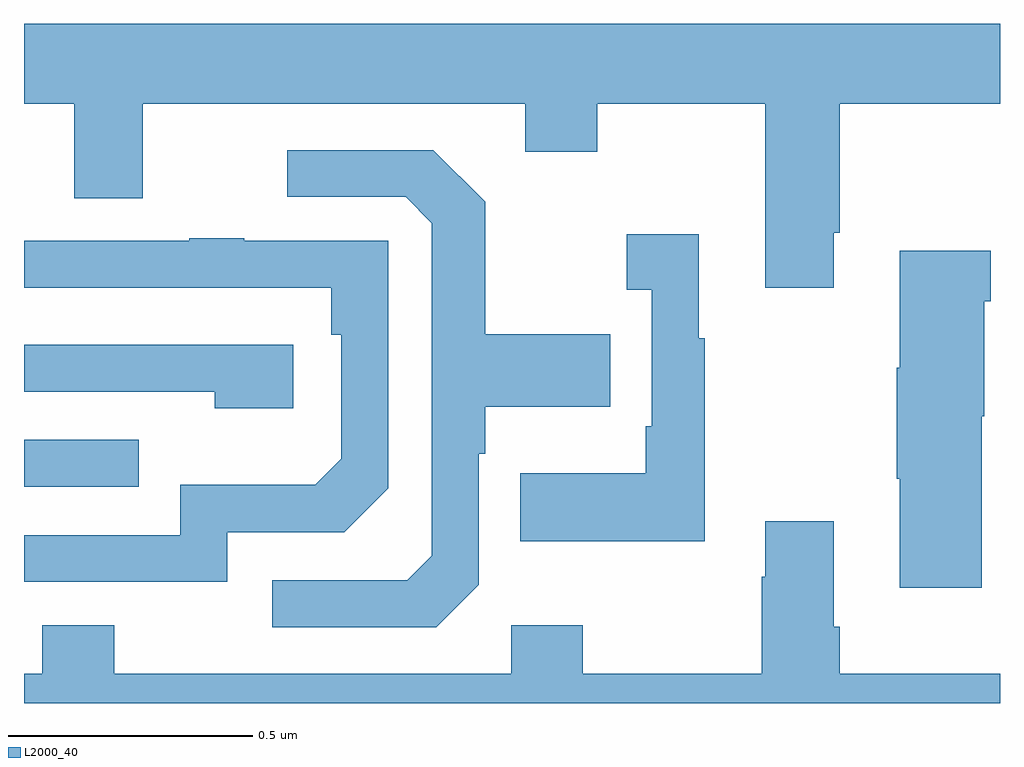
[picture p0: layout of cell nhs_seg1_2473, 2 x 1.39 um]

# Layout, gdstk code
import gdstk
lib = gdstk.Library(unit=1e-6, precision=1e-09)
def R(c, l, rs):  # rectangles x0, y0, x1, y1
    for r in rs: c.add(gdstk.rectangle(r[:2], r[2:], *l))
def P(c, l, *ps):  # polygons
    for p in ps: c.add(gdstk.Polygon(p, *l))
L2000_40 = (2000, 40)

nhs_seg1_2473 = lib.new_cell('nhs_seg1_2473')
R(nhs_seg1_2473, L2000_40, [(142,521.643,142.235,521.739)])
P(nhs_seg1_2473, L2000_40, [(143.659,522.163),(143.672,522.163),(143.672,522.428),(144,522.428),(144,522.592),(142,522.592),(142,522.428),(142.103,522.428),(142.103,522.234),(142.243,522.234),(142.243,522.428),(143.027,522.428),(143.027,522.329),(143.175,522.329),(143.175,522.428),(143.519,522.428),(143.519,522.051),(143.659,522.051)],
  [(142.932,521.442),(142.932,521.711),(142.945,521.711),(142.945,521.807),(143.201,521.807),(143.201,521.955),(142.945,521.955),(142.945,522.227),(142.839,522.333),(142.539,522.333),(142.539,522.237),(142.782,522.237),(142.836,522.183),(142.836,521.502),(142.785,521.451),(142.509,521.451),(142.509,521.355),(142.845,521.355)],
  [(143.395,521.947),(143.383,521.947),(143.383,522.16),(143.235,522.16),(143.235,522.047),(143.286,522.047),(143.286,521.767),(143.274,521.767),(143.274,521.671),(143.017,521.671),(143.017,521.531),(143.395,521.531)],
  [(142.416,521.55),(142.656,521.55),(142.746,521.64),(142.746,522.147),(142.451,522.147),(142.451,522.152),(142.339,522.152),(142.339,522.147),(142,522.147),(142,522.051),(142.63,522.051),(142.63,521.954),(142.65,521.954),(142.65,521.7),(142.597,521.647),(142.32,521.647),(142.32,521.544),(142,521.544),(142,521.448),(142.416,521.448)],
  [(143.963,521.787),(143.968,521.787),(143.968,522.023),(143.981,522.023),(143.981,522.127),(143.795,522.127),(143.795,521.887),(143.788,521.887),(143.788,521.659),(143.795,521.659),(143.795,521.436),(143.963,521.436)],
  [(142.552,521.934),(142,521.934),(142,521.838),(142.391,521.838),(142.391,521.804),(142.552,521.804)],
  [(144,521.26),(143.672,521.26),(143.672,521.356),(143.659,521.356),(143.659,521.572),(143.519,521.572),(143.519,521.459),(143.512,521.459),(143.512,521.26),(143.145,521.26),(143.145,521.359),(142.998,521.359),(142.998,521.26),(142.185,521.26),(142.185,521.359),(142.037,521.359),(142.037,521.26),(142,521.26),(142,521.199),(144,521.199)])

lib.write_gds('nhs_seg1_2473.gds')
